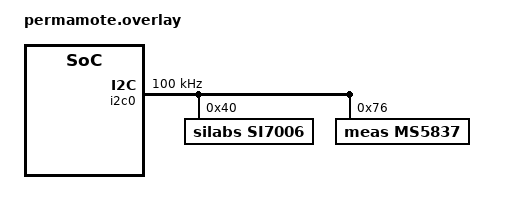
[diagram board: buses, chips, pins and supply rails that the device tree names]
/*
 * Copyright (c) 2020, Nordic Semiconductor ASA
 *
 * SPDX-License-Identifier: Apache-2.0
 */

&i2c0 {
    status = "okay";
    clock-frequency = <I2C_BITRATE_STANDARD>;
	SI7006@40 {
		compatible = "silabs,si7006";
		reg = <0x40>;
		label = "SI7006";
	};
};

&i2c0 {
    status = "okay";
    clock-frequency = <I2C_BITRATE_STANDARD>;
	MS5837@76 {
		compatible = "meas,ms5837";
		reg = <0x76>;
		label = "MS5837";
	};
};
